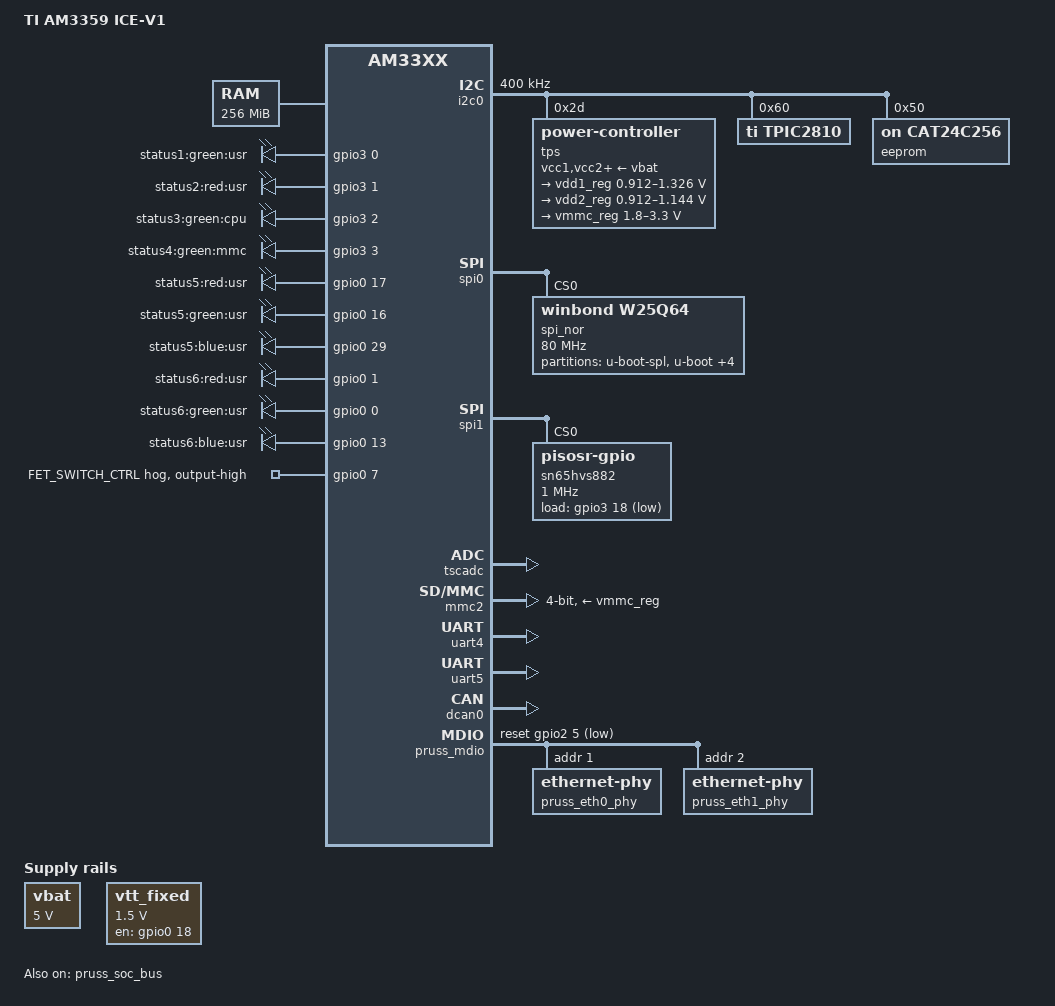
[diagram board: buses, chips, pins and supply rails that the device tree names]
/*
 * Copyright (C) 2016 Texas Instruments Incorporated - http://www.ti.com/
 *
 * This program is free software; you can redistribute it and/or modify
 * it under the terms of the GNU General Public License version 2 as
 * published by the Free Software Foundation.
 */

/*
 * AM335x ICE V1 board
 * http://processors.wiki.ti.com/index.php/AM335x_Industrial_Communication_Engine_(ICE)_EVM_HW_User_Guide
 */

/dts-v1/;

#include "am33xx.dtsi"

/ {
	model = "TI AM3359 ICE-V1";
	compatible = "ti,am3359-icev1", "ti,am33xx";

	memory@80000000 {
		device_type = "memory";
		reg = <0x80000000 0x10000000>; /* 256 MB */
	};

	chosen {
		stdout-path = &uart5;
	};

	vbat: fixedregulator0 {
		compatible = "regulator-fixed";
		regulator-name = "vbat";
		regulator-min-microvolt = <5000000>;
		regulator-max-microvolt = <5000000>;
		regulator-boot-on;
	};

	vtt_fixed: fixedregulator1 {
		compatible = "regulator-fixed";
		regulator-name = "vtt";
		regulator-min-microvolt = <1500000>;
		regulator-max-microvolt = <1500000>;
		gpio = <&gpio0 18 GPIO_ACTIVE_HIGH>;
		regulator-always-on;
		regulator-boot-on;
		enable-active-high;
	};

	leds-iio {
		status = "disabled";
		compatible = "gpio-leds";
		led-out0 {
			label = "out0";
			gpios = <&tpic2810 0 GPIO_ACTIVE_HIGH>;
			default-state = "off";
		};

		led-out1 {
			label = "out1";
			gpios = <&tpic2810 1 GPIO_ACTIVE_HIGH>;
			default-state = "off";
		};

		led-out2 {
			label = "out2";
			gpios = <&tpic2810 2 GPIO_ACTIVE_HIGH>;
			default-state = "off";
		};

		led-out3 {
			label = "out3";
			gpios = <&tpic2810 3 GPIO_ACTIVE_HIGH>;
			default-state = "off";
		};

		led-out4 {
			label = "out4";
			gpios = <&tpic2810 4 GPIO_ACTIVE_HIGH>;
			default-state = "off";
		};

		led-out5 {
			label = "out5";
			gpios = <&tpic2810 5 GPIO_ACTIVE_HIGH>;
			default-state = "off";
		};

		led-out6 {
			label = "out6";
			gpios = <&tpic2810 6 GPIO_ACTIVE_HIGH>;
			default-state = "off";
		};

		led-out7 {
			label = "out7";
			gpios = <&tpic2810 7 GPIO_ACTIVE_HIGH>;
			default-state = "off";
		};
	};

	/* LEDs */
	leds1 {
		compatible = "gpio-leds";
		pinctrl-names = "default";
		pinctrl-0 = <&user_leds>;

		led1 {
			label = "status1:green:usr";
			gpios = <&gpio3 0 GPIO_ACTIVE_HIGH>;
			default-state = "off";
		};

		led2 {
			label = "status2:red:usr";
			gpios = <&gpio3 1 GPIO_ACTIVE_HIGH>;
			default-state = "off";
		};

		led3 {
			label = "status3:green:cpu";
			gpios = <&gpio3 2 GPIO_ACTIVE_HIGH>;
			default-state = "off";
			linux,default-trigger = "cpu0";
		};

		led4 {
			label = "status4:green:mmc";
			gpios = <&gpio3 3 GPIO_ACTIVE_HIGH>;
			default-state = "off";
			linux,default-trigger = "mmc0";
		};

		led5b {
			label = "status5:red:usr";
			gpios = <&gpio0 17 GPIO_ACTIVE_HIGH>;
			default-state = "off";
		};

		led5a {
			label = "status5:green:usr";
			gpios = <&gpio0 16 GPIO_ACTIVE_HIGH>;
			default-state = "off";
		};

		led5c {
			label = "status5:blue:usr";
			gpios = <&gpio0 29 GPIO_ACTIVE_HIGH>;
			default-state = "off";
		};

		led6b {
			label = "status6:red:usr";
			gpios = <&gpio0 1 GPIO_ACTIVE_HIGH>;
			default-state = "off";
		};

		led6a {
			label = "status6:green:usr";
			gpios = <&gpio0 0 GPIO_ACTIVE_HIGH>;
			default-state = "off";
		};

		led6c {
			label = "status6:blue:usr";
			gpios = <&gpio0 13 GPIO_ACTIVE_HIGH>;
			default-state = "off";
		};
	};

	/* Dual mac ethernet application node on icss */
	pruss_eth {
		compatible = "ti,am3359-prueth";
		pruss = <&pruss>;
		sram = <&ocmcram>;
		interrupt-parent = <&pruss_intc>;
		status = "okay";

		pinctrl-0 = <&pruss_eth_default>;
		pinctrl-names = "default";

		pruss_emac0: ethernet-mii0 {
			phy-handle = <&pruss_eth0_phy>;
			phy-mode = "mii";
			interrupts = <20>, <22>;
			interrupt-names = "rx", "tx";
			/* Filled in by bootloader */
			local-mac-address = [00 00 00 00 00 00];
		};

		pruss_emac1: ethernet-mii1 {
			phy-handle = <&pruss_eth1_phy>;
			phy-mode = "mii";
			interrupts = <21>, <23>;
			interrupt-names = "rx", "tx";
			/* Filled in by bootloader */
			local-mac-address = [00 00 00 00 00 00];
		};
	};
};

&am33xx_pinmux {
	user_leds: user_leds {
		pinctrl-single,pins = <
			AM33XX_IOPAD(0x908, PIN_OUTPUT | MUX_MODE7) /* (H16) mii1_col.gpio3[0] */
			AM33XX_IOPAD(0x90c, PIN_OUTPUT | MUX_MODE7) /* (H17) mii1_crs.gpio3[1] */
			AM33XX_IOPAD(0x910, PIN_OUTPUT | MUX_MODE7) /* (J15) mii1_rx_er.gpio3[2] */
			AM33XX_IOPAD(0x914, PIN_OUTPUT | MUX_MODE7) /* (J16) mii1_tx_en.gpio3[3] */
			AM33XX_IOPAD(0x91c, PIN_OUTPUT | MUX_MODE7) /* (J18) gmii1_txd3.gpio0[16] */
			AM33XX_IOPAD(0x920, PIN_OUTPUT | MUX_MODE7) /* (K15) gmii1_txd2.gpio0[17] */
			AM33XX_IOPAD(0x944, PIN_OUTPUT | MUX_MODE7) /* (H18) rmii1_ref_clk.gpio0[29] */
			AM33XX_IOPAD(0x948, PIN_OUTPUT | MUX_MODE7) /* (M17) mdio.gpio0[0] */
			AM33XX_IOPAD(0x94c, PIN_OUTPUT | MUX_MODE7) /* (M18) mdc.gpio0[1] */
			AM33XX_IOPAD(0x97c, PIN_OUTPUT | MUX_MODE7) /* (D17) uart1_rtsn.gpio0[13] */
		>;
	};

	mmc1_pins_default: mmc1_pins_default {
		pinctrl-single,pins = <
			AM33XX_IOPAD(0x928, PIN_INPUT_PULLUP | MUX_MODE6) /* (K17) gmii1_txd0.mmc1_clk */
			AM33XX_IOPAD(0x924, PIN_INPUT_PULLUP | MUX_MODE6) /* (K16) gmii1_txd1.mmc1_cmd */
			AM33XX_IOPAD(0x92c, PIN_INPUT_PULLUP | MUX_MODE4) /* (K18) gmii1_txclk.mmc1_dat0 */
			AM33XX_IOPAD(0x930, PIN_INPUT_PULLUP | MUX_MODE4) /* (L18) gmii1_rxclk.mmc1_dat1 */
			AM33XX_IOPAD(0x934, PIN_INPUT_PULLUP | MUX_MODE4) /* (L17) gmii1_rxd3.mmc1_dat2 */
			AM33XX_IOPAD(0x938, PIN_INPUT_PULLUP | MUX_MODE4) /* (L16) gmii1_rxd2.mmc1_dat3 */
			AM33XX_IOPAD(0x940, PIN_INPUT_PULLUP | MUX_MODE7) /* (M16) gmii1_rxd0.gpio2[21] */
		>;
	};

	i2c0_pins_default: i2c0_pins_default {
		pinctrl-single,pins = <
			AM33XX_IOPAD(0x988, PIN_INPUT | MUX_MODE0) /* (C17) I2C0_SDA.I2C0_SDA */
			AM33XX_IOPAD(0x98c, PIN_INPUT | MUX_MODE0) /* (C16) I2C0_SCL.I2C0_SCL */
		>;
	};

	spi0_pins_default: spi0_pins_default {
		pinctrl-single,pins = <
			AM33XX_IOPAD(0x950, PIN_INPUT_PULLUP | MUX_MODE0) /* (A17) spi0_sclk.spi0_sclk */
			AM33XX_IOPAD(0x954, PIN_INPUT_PULLUP | MUX_MODE0) /* (B17) spi0_d0.spi0_d0 */
			AM33XX_IOPAD(0x958, PIN_INPUT_PULLUP | MUX_MODE0) /* (B16) spi0_d1.spi0_d1 */
			AM33XX_IOPAD(0x95c, PIN_INPUT_PULLUP | MUX_MODE0) /* (A16) spi0_cs0.spi0_cs0 */
			AM33XX_IOPAD(0x960, PIN_INPUT_PULLUP | MUX_MODE0) /* (C15) spi0_cs1.spi0_cs1 */
		>;
	};

	spi1_pins_default: spi1_pins_default {
		pinctrl-single,pins = <
			AM33XX_IOPAD(0x990, PIN_INPUT_PULLUP | MUX_MODE3) /* (A13) mcasp0_aclkx.spi1_sclk */
			AM33XX_IOPAD(0x998, PIN_INPUT_PULLUP | MUX_MODE3) /* (D12) mcasp0_axr0.spi1_d1 */
			AM33XX_IOPAD(0x99c, PIN_INPUT_PULLUP | MUX_MODE3) /* (C12) mcasp0_ahclkr.spi1_cs0 */
			AM33XX_IOPAD(0x9a0, PIN_OUTPUT_PULLUP | MUX_MODE7) /* (B12) mcasp0_aclkr.gpio3[18] */
		>;
	};

	uart4_pins_default: uart4_pins_default {
		pinctrl-single,pins = <
			AM33XX_IOPAD(0x968, PIN_INPUT | MUX_MODE1) /* (E18) uart0_ctsn.uart4_rxd */
			AM33XX_IOPAD(0x96c, PIN_OUTPUT | MUX_MODE1) /* (E17) uart0_rtsn.uart4_txd */
		>;
	};

	uart5_pins_default: uart5_pins_default {
		pinctrl-single,pins = <
			AM33XX_IOPAD(0x8c4, PIN_INPUT_PULLUP | MUX_MODE4 ) /* (U2) lcd_data9.uart5_rxd */
			AM33XX_IOPAD(0x8c0, PIN_OUTPUT_PULLUP | MUX_MODE4 ) /* (U1) lcd_data8.uart5_txd */
		>;
	};

	pruss_mdio_default: pruss_mdio_default {
		pinctrl-single,pins = <
			AM33XX_IOPAD(0x88c, PIN_OUTPUT_PULLUP | MUX_MODE5) /* gpmc_clk.pr1_mdio_mdclk */
			AM33XX_IOPAD(0x888, PIN_INPUT_PULLUP | SLEWCTRL_FAST | MUX_MODE5) /* gpmc_csn3.pr1_mdio_data */
			AM33XX_IOPAD(0x884, PIN_OUTPUT_PULLUP | MUX_MODE7) /* (V9) gpmc_csn2.gpio1[31] */
			AM33XX_IOPAD(0x89c, PIN_OUTPUT_PULLUP | MUX_MODE7) /* (T6) gpmc_be0n_cle.gpio2[5] */
		>;
	};

	pruss_eth_default: pruss_eth_default {
		pinctrl-single,pins = <
			AM33XX_IOPAD(0x8a0, PIN_INPUT | MUX_MODE2) /* (R1) lcd_data0.pr1_mii_mt0_clk */
			AM33XX_IOPAD(0x8b4, PIN_OUTPUT | MUX_MODE2) /* (T2) lcd_data5.pr1_mii0_txd0 */
			AM33XX_IOPAD(0x8b0, PIN_OUTPUT | MUX_MODE2) /* (T1) lcd_data4.pr1_mii0_txd1 */
			AM33XX_IOPAD(0x8ac, PIN_OUTPUT | MUX_MODE2) /* (R4) lcd_data3.pr1_mii0_txd2 */
			AM33XX_IOPAD(0x8a8, PIN_OUTPUT | MUX_MODE2) /* (R3) lcd_data2.pr1_mii0_txd3 */
			AM33XX_IOPAD(0x8a4, PIN_OUTPUT | MUX_MODE2) /* (R2) lcd_data1.pr1_mii0_txen */
			AM33XX_IOPAD(0x8d8, PIN_INPUT | MUX_MODE5) /* (V4) lcd_data14.pr1_mii_mr0_clk */
			AM33XX_IOPAD(0x8dc, PIN_INPUT | MUX_MODE5) /* (T5) lcd_data15.pr1_mii0_rxdv */
			AM33XX_IOPAD(0x8d4, PIN_INPUT | MUX_MODE5) /* (V3) lcd_data13.pr1_mii0_rxer */
			AM33XX_IOPAD(0x8d0, PIN_INPUT | MUX_MODE5) /* (V2) lcd_data12.pr1_mii0_rxlink */
			AM33XX_IOPAD(0x8e0, PIN_INPUT | MUX_MODE6) /* (U5) lcd_vsync.pr1_mii0_rxd_post[3] */
			AM33XX_IOPAD(0x8e4, PIN_INPUT | MUX_MODE6) /* (R5) lcd_hsync.pr1_mii0_rxd_post[2] */
			AM33XX_IOPAD(0x8e8, PIN_INPUT | MUX_MODE6) /* (V5) lcd_pclk.pr1_mii0_rxd_post[1] */
			AM33XX_IOPAD(0x8ec, PIN_INPUT | MUX_MODE6) /* (R6) lcd_ac_bias_en.pr1_mii0_rxd_post[0] */

			AM33XX_IOPAD(0x840, PIN_INPUT | MUX_MODE5) /* (R13) gpmc_a0.pr1_mii_mt1_clk */
			AM33XX_IOPAD(0x850, PIN_OUTPUT | MUX_MODE5) /* (R14) gpmc_a4.pr1_mii1_txd0 */
			AM33XX_IOPAD(0x84c, PIN_OUTPUT | MUX_MODE5) /* (T14) gpmc_a3.pr1_mii1_txd1 */
			AM33XX_IOPAD(0x848, PIN_OUTPUT | MUX_MODE5) /* (U14) gpmc_a2.pr1_mii1_txd2 */
			AM33XX_IOPAD(0x844, PIN_OUTPUT | MUX_MODE5) /* (V14) gpmc_a1.pr1_mii1_txd3 */
			AM33XX_IOPAD(0x860, PIN_INPUT | MUX_MODE5) /* (V16) gpmc_a8.pr1_mii1_rxd0 */
			AM33XX_IOPAD(0x85c, PIN_INPUT | MUX_MODE5) /* (T15) gpmc_a7.pr1_mii1_rxd1 */
			AM33XX_IOPAD(0x858, PIN_INPUT | MUX_MODE5) /* (U15) gpmc_a6.pr1_mii1_rxd2 */
			AM33XX_IOPAD(0x854, PIN_INPUT | MUX_MODE5) /* (V15) gpmc_a5.pr1_mii1_rxd3 */
			AM33XX_IOPAD(0x874, PIN_OUTPUT | MUX_MODE5) /* (U17) gpmc_wpn.pr1_mii1_txen */
			AM33XX_IOPAD(0x864, PIN_INPUT | MUX_MODE5) /* (U16) gpmc_a9.pr1_mii_mr1_clk */
			AM33XX_IOPAD(0x868, PIN_INPUT | MUX_MODE5) /* (T16) gpmc_a10.pr1_mii1_rxdv */
			AM33XX_IOPAD(0x86c, PIN_INPUT | MUX_MODE5) /* (V17) gpmc_a11.pr1_mii1_rxer */
			AM33XX_IOPAD(0x878, PIN_INPUT | MUX_MODE5) /* (U18) gpmc_be1n.pr1_mii1_rxlink */
		>;
	};

	dcan0_pins_default: dcan0_pins_default {
		pinctrl-single,pins = <
			AM33XX_IOPAD(0x974, PIN_INPUT | MUX_MODE2) /* (E16) uart0_txd.dcan0_rx */
			AM33XX_IOPAD(0x970, PIN_OUTPUT | MUX_MODE2) /* (E15) uart0_rxd.dcan0_tx */
		>;
	};
};

&i2c0 {
	pinctrl-names = "default";
	pinctrl-0 = <&i2c0_pins_default>;

	status = "okay";
	clock-frequency = <400000>;

	tps: power-controller@2d {
		reg = <0x2d>;
	};

	tpic2810: gpio@60 {
		compatible = "ti,tpic2810";
		reg = <0x60>;
		gpio-controller;
		#gpio-cells = <2>;
	};
	eeprom@50 {
		compatible = "on,cat24c256";
		reg = <0x50>;
		pagesize = <64>;
	};
};

&spi0 {
	status = "okay";
	pinctrl-names = "default";
	pinctrl-0 = <&spi0_pins_default>;

	spi_nor: flash@0 {
		#address-cells = <1>;
		#size-cells = <1>;
		compatible = "winbond,w25q64", "jedec,spi-nor";
		spi-max-frequency = <80000000>;
		m25p,fast-read;
		reg = <0>;

		partition@0 {
			label = "u-boot-spl";
			reg = <0x0 0x20000>;
			read-only;
		};

		partition@1 {
			label = "u-boot";
			reg = <0x20000 0x80000>;
			read-only;
		};

		partition@2 {
			label = "u-boot-env1";
			reg = <0xA0000 0x20000>;
			read-only;
		};

		partition@3 {
			label = "u-boot-env2";
			reg = <0xC0000 0x20000>;
			read-only;
		};

		partition@4 {
			label = "kernel";
			reg = <0xE0000 0x370000>;
		};

		partition@5 {
			label = "misc";
			reg = <0x450000 0x3B0000>;
		};
	};
};

&spi1 {
	status = "okay";
	pinctrl-names = "default";
	pinctrl-0 = <&spi1_pins_default>;

	sn65hvs882@1 {
		compatible = "pisosr-gpio";
		gpio-controller;
		#gpio-cells = <2>;

		load-gpios = <&gpio3 18 GPIO_ACTIVE_LOW>;

		reg = <0>;
		spi-max-frequency = <1000000>;
		spi-cpol;
	};
};

&tscadc {
	status = "okay";
	adc {
		ti,adc-channels = <1 2 3 4 5 6 7>;
	};
};

#include "tps65910.dtsi"

&tps {
	vcc1-supply = <&vbat>;
	vcc2-supply = <&vbat>;
	vcc3-supply = <&vbat>;
	vcc4-supply = <&vbat>;
	vcc5-supply = <&vbat>;
	vcc6-supply = <&vbat>;
	vcc7-supply = <&vbat>;
	vccio-supply = <&vbat>;

	regulators {
		vrtc_reg: regulator@0 {
			regulator-always-on;
		};

		vio_reg: regulator@1 {
			regulator-always-on;
		};

		vdd1_reg: regulator@2 {
			regulator-name = "vdd_mpu";
			regulator-min-microvolt = <912500>;
			regulator-max-microvolt = <1326000>;
			regulator-boot-on;
			regulator-always-on;
		};

		vdd2_reg: regulator@3 {
			regulator-name = "vdd_core";
			regulator-min-microvolt = <912500>;
			regulator-max-microvolt = <1144000>;
			regulator-boot-on;
			regulator-always-on;
		};

		vdd3_reg: regulator@4 {
			regulator-always-on;
		};

		vdig1_reg: regulator@5 {
			regulator-always-on;
		};

		vdig2_reg: regulator@6 {
			regulator-always-on;
		};

		vpll_reg: regulator@7 {
			regulator-always-on;
		};

		vdac_reg: regulator@8 {
			regulator-always-on;
		};

		vaux1_reg: regulator@9 {
			regulator-always-on;
		};

		vaux2_reg: regulator@10 {
			regulator-always-on;
		};

		vaux33_reg: regulator@11 {
			regulator-always-on;
		};

		vmmc_reg: regulator@12 {
			regulator-min-microvolt = <1800000>;
			regulator-max-microvolt = <3300000>;
			regulator-always-on;
		};
	};
};

&mmc2 {
	status = "okay";
	vmmc-supply = <&vmmc_reg>;
	bus-width = <4>;
	pinctrl-names = "default";
	pinctrl-0 = <&mmc1_pins_default>;
	cd-gpio = <&gpio2 21 GPIO_ACTIVE_HIGH>;
};

&gpio0 {
	/* Do not idle the GPIO used for holding the VTT regulator */
	ti,no-reset-on-init;
	ti,no-idle-on-init;

	p7 {
		gpio-hog;
		gpios = <7 GPIO_ACTIVE_HIGH>;
		output-high;
		line-name = "FET_SWITCH_CTRL";
	};
};

&uart4 {
	pinctrl-names = "default";
	pinctrl-0 = <&uart4_pins_default>;
	status = "okay";
};

&uart5 {
	pinctrl-names = "default";
	pinctrl-0 = <&uart5_pins_default>;
	status = "okay";
};

&dcan0 {
	pinctrl-names = "default";
	pinctrl-0 = <&dcan0_pins_default>;
	status = "okay";
};

&pruss_soc_bus {
	status = "okay";

	pruss: pruss@4a300000 {
		status = "okay";
		pin-mx = <1>;

		pru0: pru@4a334000 {
			status = "okay";
		};

		pru1: pru@4a338000 {
			status = "okay";
		};
	};
};

&pruss_mdio {
	pinctrl-0 = <&pruss_mdio_default>;
	pinctrl-names = "default";
	reset-gpios = <&gpio2 5 GPIO_ACTIVE_LOW>, <&gpio1 31 GPIO_ACTIVE_LOW>;
	reset-delay-us = <2>; /* PHY datasheet states 1uS min */
	status = "okay";

	pruss_eth0_phy: ethernet-phy@1 {
		 reg = <1>;
	};

	pruss_eth1_phy: ethernet-phy@2 {
		 reg = <2>;
	};
};
